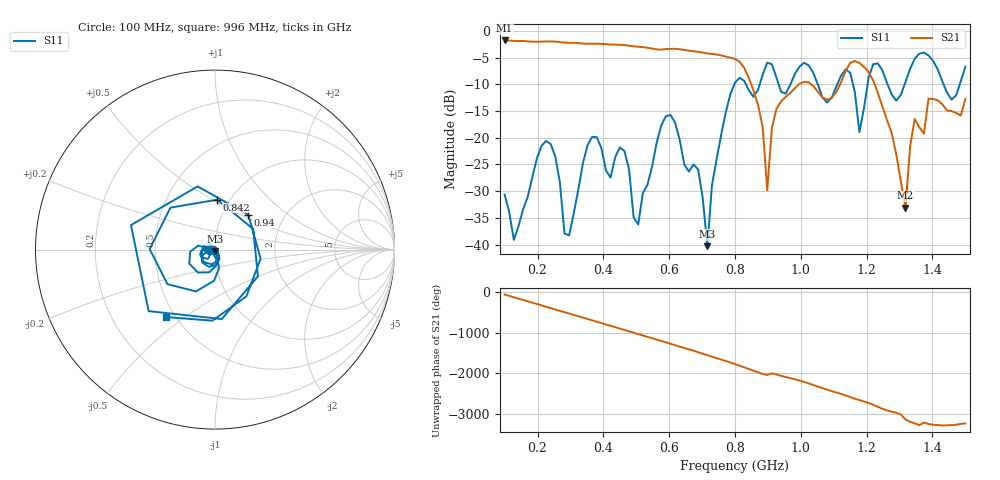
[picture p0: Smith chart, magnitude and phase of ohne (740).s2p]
! NanoVNA-App
! Date: 2025-09-25 14:26:33
! Start: 100MHz Stop: 1,5GHz Points: 101
! S-Parameter data: F S11 S21 S12 S22
# Hz S RI R 50
!  Frequency  S11_Real  S11_Imag  S21_Real  S21_Imag  S12_Real  S12_Imag  S22_Real  S22_Imag
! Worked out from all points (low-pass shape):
!   101 points, 100 MHz to 1.5 GHz, reference 50 ohm
!   highest |S21| = -1.79 dB at 100 MHz (marker M1); lowest = -33.1 dB at 1.318 GHz (marker M2)
!   |S21| within 3 dB of the highest: start of sweep to 771.1 MHz
!   lowest |S11| = -40.3 dB at 716 MHz (marker M3), VSWR 1.02, Z = 49.8 - j0.948 ohm
!   |S11| at or under -10 dB: start of sweep to 798 MHz; 833.2 MHz to 875 MHz (41.83 MHz wide, 4.9 % of centre); 1.051 GHz to 1.111 GHz (59.26 MHz wide, 5.48 % of centre) (the widest 3 of 7)
!   S12 and S22 are empty: the file has one direction only
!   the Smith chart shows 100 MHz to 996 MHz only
!   S11 on the Smith chart (normalised r, x): 100 MHz: 0.94, -0.01; 842 MHz: 0.88, +0.53; 940 MHz: 1.32, +0.56; 996 MHz: 0.45, -0.43
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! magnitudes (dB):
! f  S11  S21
! 100 MHz  -30.6  -1.8
! 128 MHz  -39.1  -1.9
! 226 MHz  -20.6  -2.0
! 296 MHz  -38.3  -2.2
! 338 MHz  -24.8  -2.4
! 464 MHz  -22.5  -2.7
! 506 MHz  -36.2  -3.0
! 576 MHz  -17.7  -3.5
! 688 MHz  -25.9  -3.9
! 716 MHz  -40.3  -4.2
! 800 MHz  -9.7  -5.3
! 842 MHz  -11.1  -8.8
! 898 MHz  -5.9  -29.8
! 940 MHz  -11.4  -13.2
! 996 MHz  -6.7  -9.9
! 1.038 GHz  -7.9  -10.3
! 1.178 GHz  -19.0  -6.0
! 1.22 GHz  -6.2  -9.3
! 1.276 GHz  -11.9  -19.1
! 1.318 GHz  -9.6  -33.1
! 1.346 GHz  -5.2  -16.5
! 1.5 GHz  -6.7  -12.7
